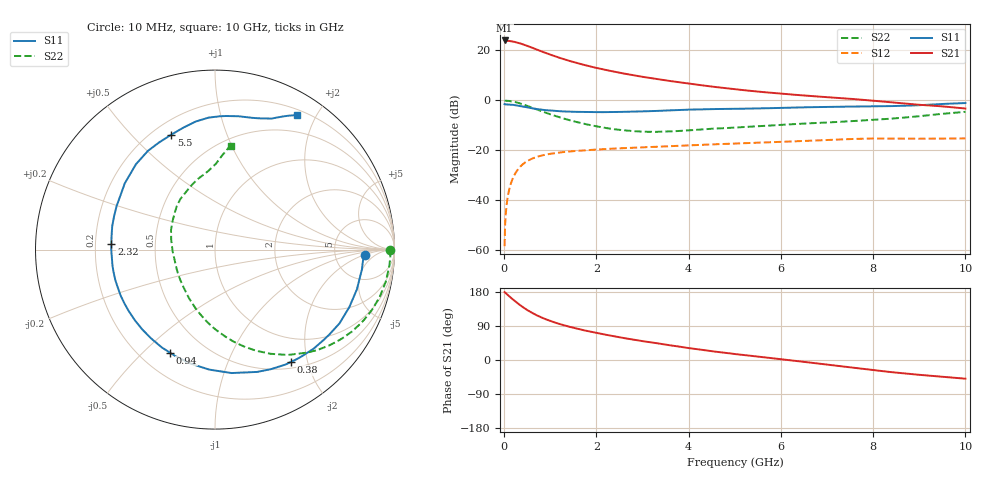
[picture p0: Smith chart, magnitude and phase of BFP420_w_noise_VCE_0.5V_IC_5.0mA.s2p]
! Infineon Technologies  Discrete & RF Semiconductors
! BFP420
! VCE =  0.5 V,  IC =  5.0 mA
! Common Emitter S-Parameters:  Jan 2016
# GHz  S  MA  R  50
!  f  S11  S21  S12  S22
! GHz  MAG  ANG  MAG  ANG  MAG  ANG  MAG  ANG
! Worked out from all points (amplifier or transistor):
!   233 points, 10 MHz to 10 GHz, reference 50 ohm
!   highest |S21| = 23.9 dB at 10 MHz (marker M1)
!   |S21| within 3 dB of that: start of sweep to 618.9 MHz
!   unconditionally stable (mu >= 1): 2.942 GHz to end of sweep
!   at 200 MHz: K = 0.08, MSG = 27.1 dB, |S12| = -30.8 dB
!   at 1.74 GHz: K = 0.64, MSG = 17.1 dB, |S12| = -20.1 dB
!   at 10 GHz: K = 1.09, MAG = 4.1 dB, |S12| = -15.3 dB
!   lowest NFmin = 0.66 dB at 900 MHz
!   S11 on the Smith chart (normalised r, x): 10 MHz: 11, -2; 380 MHz: 0.59, -1.73; 940 MHz: 0.32, -0.61; 2.32 GHz: 0.27, +0.02; 5.5 GHz: 0.27, +0.65; 10 GHz: 0.27, +1.75
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0.01  0.8353 -2.0  15.7 179.2  0.0012 94.3  0.9735 -0.2
0.02  0.8276 -3.2  15.37 178.2  0.0031 87.0  0.9776 -2.1
0.06  0.8237 -9.3  15.4 173.5  0.009 84.7  0.9736 -6.5
0.1  0.821 -15.7  15.4 169.3  0.0149 81.9  0.9681 -10.7
0.2  0.8062 -30.7  14.91 158.8  0.029 73.7  0.9362 -21.2
0.3  0.7787 -45.2  14.13 148.9  0.0414 66.3  0.8884 -31.0
0.38  0.7554 -56.0  13.39 141.8  0.0499 60.8  0.8424 -38.1
0.46  0.7319 -66.1  12.63 135.0  0.0573 56.0  0.7953 -44.9
0.6  0.6939 -82.4  11.29 124.7  0.0676 48.9  0.7132 -55.4
0.8  0.6497 -102.0  9.563 112.7  0.0778 41.2  0.6082 -67.9
0.94  0.6265 -113.7  8.56 105.8  0.0828 37.0  0.5465 -75.4
1.1  0.6097 -125.6  7.583 98.9  0.0874 33.3  0.4875 -83.3
1.28  0.5963 -137.1  6.687 92.1  0.0915 29.8  0.433 -91.5
1.68  0.5819 -157.8  5.239 79.8  0.0984 24.5  0.3463 -107.9
2.32  0.5783 177.0  3.831 64.1  0.1069 18.8  0.2681 -132.5
3.4  0.6164 146.1  2.577 42.5  0.1188 12.0  0.234 -174.0
4  0.6483 132.8  2.152 31.4  0.1256 8.6  0.25 167.4
5.1  0.6751 116.2  1.621 14.5  0.1365 2.6  0.2865 145.2
5.5  0.6849 110.9  1.487 8.9  0.1405 0.6  0.3007 139.0
6.8  0.7294 95.1  1.186 -9.2  0.1575 -7.3  0.3507 120.1
8.4  0.7626 74.3  0.906 -32.1  0.1704 -21.7  0.4278 97.3
10  0.8776 58.7  0.682 -49.3  0.172 -31.1  0.5849 81.5
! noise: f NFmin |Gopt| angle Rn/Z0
0.9  0.66  0.21  31  0.15
1.8  1.05  0.09  93  0.13
2.4  1.14  0.14  119  0.13
3  1.24  0.17  165  0.11
4  1.41  0.31  -145  0.12
5  1.85  0.38  -119  0.21
6  2.3  0.45  -101  0.36
